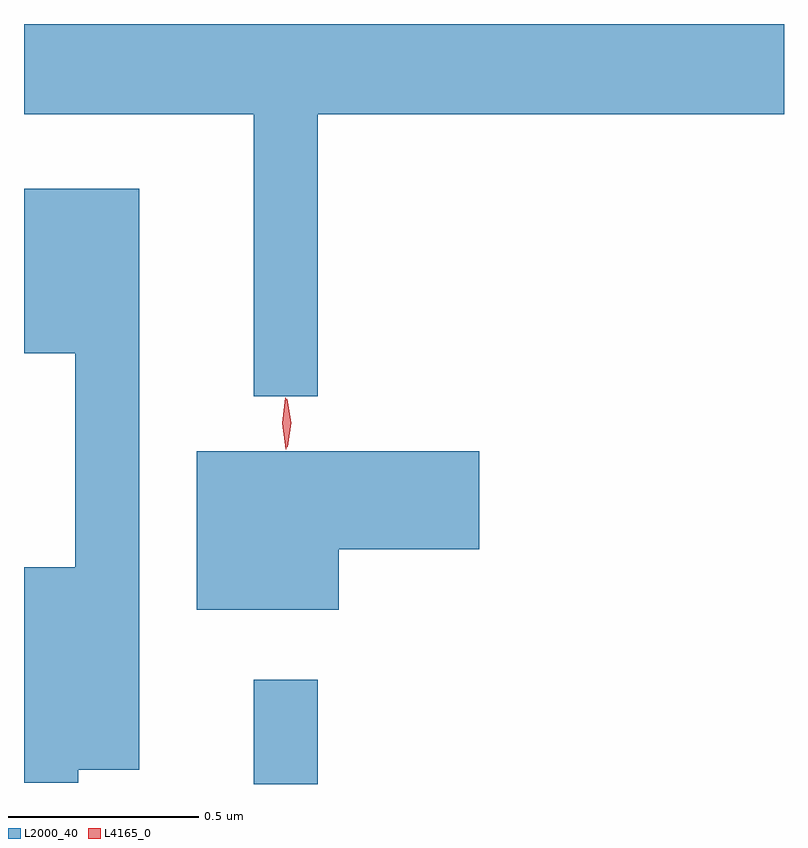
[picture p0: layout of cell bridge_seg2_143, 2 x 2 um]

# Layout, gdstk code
import gdstk
lib = gdstk.Library(unit=1e-6, precision=1e-09)
def R(c, l, rs):  # rectangles x0, y0, x1, y1
    for r in rs: c.add(gdstk.rectangle(r[:2], r[2:], *l))
def P(c, l, *ps):  # polygons
    for p in ps: c.add(gdstk.Polygon(p, *l))
L2000_40 = (2000, 40)
L4165_0 = (4165, 0)

bridge_seg2_143 = lib.new_cell('bridge_seg2_143')
R(bridge_seg2_143, L2000_40, [(985.611,1050.993,985.779,1051.268)])
P(bridge_seg2_143, L2000_40, [(985.779,1052.756),(987.006,1052.756),(987.006,1052.993),(985.006,1052.993),(985.006,1052.756),(985.611,1052.756),(985.611,1052.013),(985.779,1052.013)],
  [(985.149,1051.031),(985.309,1051.031),(985.309,1052.559),(985.006,1052.559),(985.006,1052.126),(985.141,1052.126),(985.141,1051.564),(985.006,1051.564),(985.006,1050.996),(985.149,1050.996)],
  [(985.834,1051.611),(986.204,1051.611),(986.204,1051.869),(985.461,1051.869),(985.461,1051.451),(985.834,1051.451)])
P(bridge_seg2_143, L4165_0, [(985.695,1051.874),(985.685,1051.942),(985.694,1052.01),(985.695,1052.01),(985.695,1052.01),(985.705,1051.942),(985.696,1051.874),(985.696,1051.874)],
  [(985.698,1051.88),(985.689,1051.944),(985.698,1052.006),(985.698,1052.007),(985.699,1052.006),(985.709,1051.944),(985.7,1051.88),(985.699,1051.88)])

lib.write_gds('bridge_seg2_143.gds')
